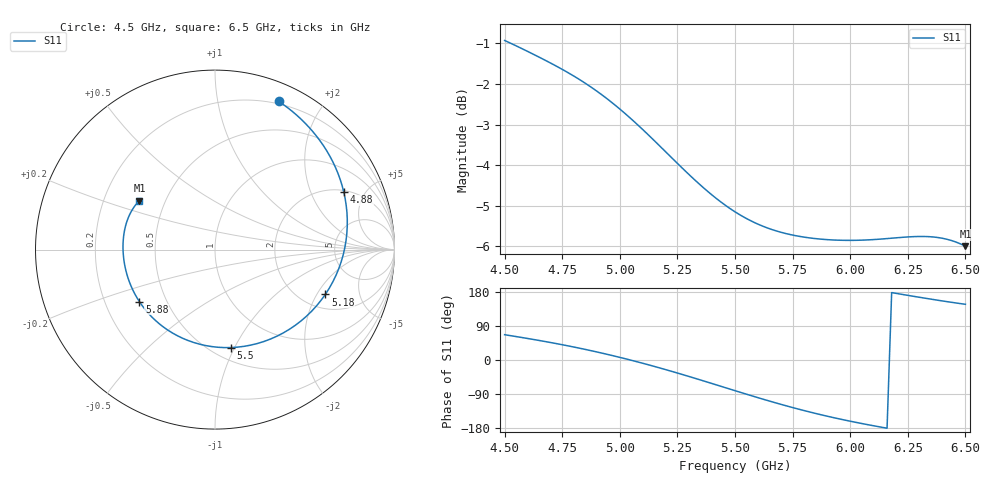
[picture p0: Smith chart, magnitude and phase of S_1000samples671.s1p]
! TOUCHSTONE file generated by CST MICROWAVE STUDIO
! Date and time: Fri Oct 28 23:37:58 2022
! Project name: L.cst
! Parameters = {Di=1.27; Epsilon_r=1.56; InnerDiameter=1.27; Length=2; Lf=10; Lg=60; OuterConductorThickness=0.2921; OuterDiameter=3.6; Wf=3; Wp=41.2; de=1.5; df=6.8; g=0.8; gx=1.7338; gy=1.23503; h=2.34; hf=1.524; px=10.1939; py=10.0574; w=9.7; wx=8.46006; wy=8.82234}
! Header version: 2018
! Port assignment regex: !\s*Touchstone port\s*([0-9]+)\s*=\s*(CST MWS port|CST DS port)\s*([0-9]+|Zmin|Zmax)\s*\(\"(.*)\"\)(\s*mode\s*([0-9]+))?.*
! Touchstone port assignment:
! Touchstone port 1 = CST MWS port 1 ("")
# GHz S DB R 50
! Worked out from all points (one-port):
!   101 points, 4.5 GHz to 6.5 GHz, reference 50 ohm
!   lowest |S11| = -6.0 dB at 6.5 GHz (marker M1), VSWR 3.01, Z = 17.9 + j13 ohm
!   |S11| at or under -10 dB: nowhere
!   S11 on the Smith chart (normalised r, x): 4.5 GHz: 0.18, +1.50; 4.88 GHz: 2.11, +3.52; 5.18 GHz: 2.66, -2.37; 5.5 GHz: 0.61, -0.97; 5.88 GHz: 0.35, -0.28; 6.5 GHz: 0.36, +0.26
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4.5  -0.93 66.8
4.58  -1.14 58.8
4.64  -1.31 52.6
4.76  -1.67 39.1
4.82  -1.87 31.8
4.88  -2.10 24.0
4.94  -2.34 15.7
5  -2.62 6.9
5.08  -3.02 -5.5
5.12  -3.23 -12.0
5.18  -3.56 -22.1
5.26  -4.01 -36.2
5.32  -4.34 -47.1
5.38  -4.64 -58.3
5.44  -4.91 -69.6
5.5  -5.15 -80.9
5.56  -5.35 -92.1
5.62  -5.50 -103.1
5.7  -5.65 -117.1
5.76  -5.73 -127.1
5.82  -5.79 -136.5
5.88  -5.83 -145.4
5.94  -5.85 -153.7
6  -5.85 -161.5
6.12  -5.83 -175.6
6.26  -5.76 169.6
6.38  -5.78 157.8
6.5  -6.00 147.0
